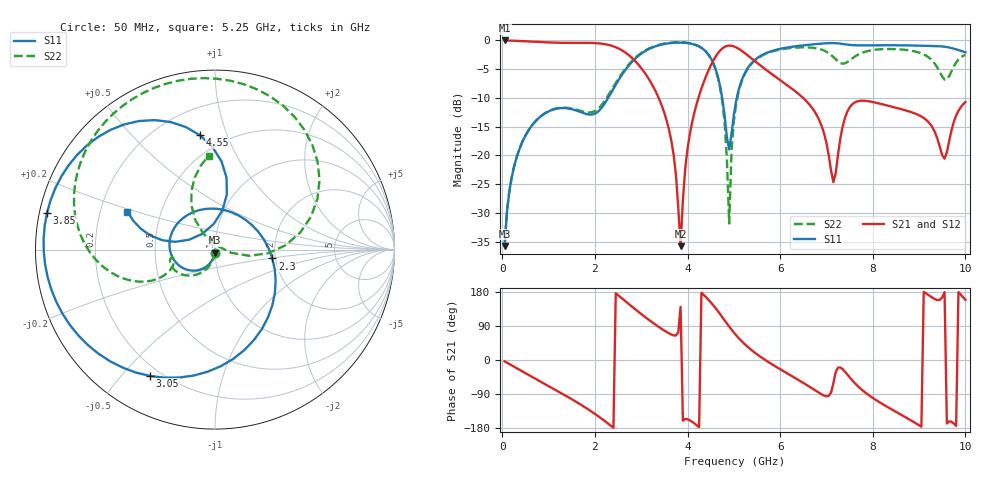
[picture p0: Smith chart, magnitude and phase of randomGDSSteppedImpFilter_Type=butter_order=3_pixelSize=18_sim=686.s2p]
! freq	dB(S11)	phase(S11)	dB(S12)	phase(S12)
!  dB(S21)	phase(S21)	dB(S22)	phase(S22)
!S-par simulation data
#  GHz  S  DB  R 50
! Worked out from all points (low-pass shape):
!   200 points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, 50 MHz to 10 GHz, reference 50 ohm
!   highest |S21| = -0.01 dB at 50 MHz (marker M1); lowest = -35.8 dB at 3.85 GHz (marker M2)
!   |S21| within 3 dB of the highest: start of sweep to 2.795 GHz; 4.592 GHz to 5.363 GHz (771.1 MHz wide, 15.5 % of centre)
!   lowest |S11| = -35.8 dB at 50 MHz (marker M3), VSWR 1.03, Z = 49.9 - j1.62 ohm
!   |S11| at or under -10 dB: start of sweep to 2.286 GHz; 4.749 GHz to 5.064 GHz (315.8 MHz wide, 6.44 % of centre)
!   |S22| runs from -35.8 to -0.3 dB; largest |S21 - S12| = 0
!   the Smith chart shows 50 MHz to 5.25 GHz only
!   S11 on the Smith chart (normalised r, x): 50 MHz: 1.00, -0.03; 2.3 GHz: 1.92, -0.21; 3.05 GHz: 0.16, -0.60; 3.85 GHz: 0.02, +0.11; 4.55 GHz: 0.37, +0.81; 5.25 GHz: 0.32, +0.19
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0.05  -35.76 -93.6  -0.01 -3.5  -0.01 -3.5  -35.75 -92.8
0.55  -15.86 -133.4  -0.17 -38.1  -0.17 -38.1  -15.84 -123.6
1.75  -12.64 104.9  -0.42 -122.0  -0.42 -122.0  -12.38 -169.1
2.3  -9.80 -8.8  -0.79 -169.2  -0.79 -169.2  -9.39 -152.9
3.05  -2.03 -117.1  -5.35 116.5  -5.35 116.5  -1.91 166.2
3.4  -0.81 -152.7  -10.44 85.6  -10.44 85.6  -0.73 138.6
3.85  -0.37 167.7  -35.78 140.0  -35.78 140.0  -0.33 102.4
4.05  -0.53 150.1  -16.27 -159.4  -16.27 -159.4  -0.49 84.8
4.55  -3.85 97.4  -3.60 145.4  -3.60 145.4  -3.91 26.5
4.8  -13.05 79.3  -1.13 104.8  -1.13 104.8  -14.23 -10.3
4.9  -18.96 128.7  -0.90 88.1  -0.90 88.1  -31.84 80.8
5.05  -10.52 169.9  -1.21 65.3  -1.21 65.3  -11.08 118.1
5.25  -5.49 156.5  -2.29 40.0  -2.29 40.0  -5.62 93.9
6.7  -0.70 66.1  -11.85 -75.6  -11.85 -75.6  -1.28 -45.1
7.2  -0.48 38.9  -23.07 -31.9  -23.07 -31.9  -3.28 -156.2
7.5  -0.78 23.8  -11.65 -45.6  -11.65 -45.6  -3.48 79.4
7.8  -0.87 10.6  -10.48 -82.2  -10.48 -82.2  -2.06 8.0
8.35  -0.84 -14.9  -11.40 -126.3  -11.40 -126.3  -1.49 -56.9
9.25  -0.96 -61.1  -14.66 167.5  -14.66 167.5  -3.24 -161.5
9.55  -1.09 -81.0  -20.56 179.1  -20.56 179.1  -6.81 87.1
9.75  -1.44 -97.0  -14.16 -167.7  -14.16 -167.7  -4.52 -21.4
10  -2.07 -121.4  -10.71 158.9  -10.71 158.9  -2.52 -87.6
